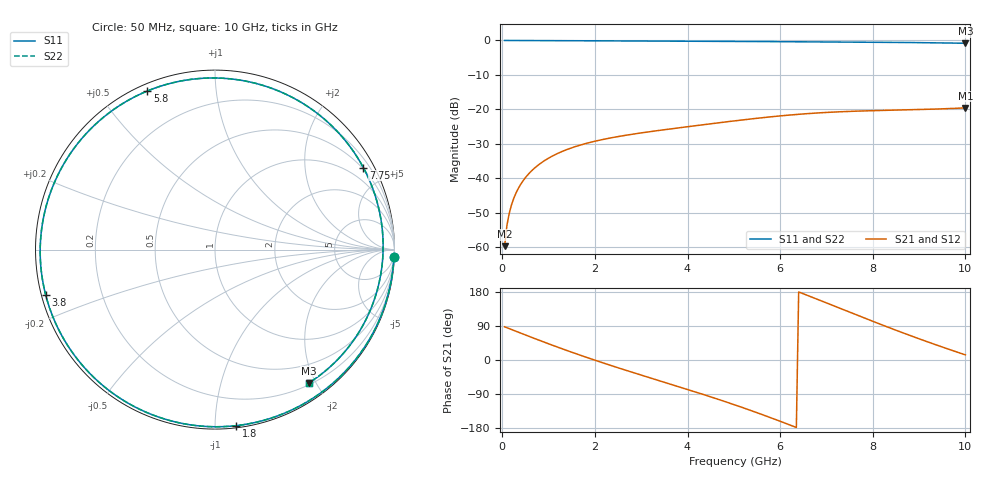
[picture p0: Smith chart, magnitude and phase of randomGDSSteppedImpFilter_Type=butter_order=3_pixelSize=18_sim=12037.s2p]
! freq	dB(S11)	phase(S11)	dB(S12)	phase(S12)
!  dB(S21)	phase(S21)	dB(S22)	phase(S22)
!S-par simulation data
#  GHz  S  DB  R 50
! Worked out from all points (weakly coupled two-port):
!   200 points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, 50 MHz to 10 GHz, reference 50 ohm
!   highest |S21| = -19.55 dB at 10 GHz (marker M1); lowest = -59.6 dB at 50 MHz (marker M2)
!   lowest |S11| = -0.8 dB at 10 GHz (marker M3), VSWR 20.88, Z = 11.2 - j95.4 ohm
!   |S11| at or under -10 dB: nowhere
!   |S22| runs from -0.8 to 0.0 dB; largest |S21 - S12| = 0
!   S11 on the Smith chart (normalised r, x): 50 MHz: 2, -50; 1.8 GHz: 0.01, -1.13; 3.8 GHz: 0.01, -0.13; 5.8 GHz: 0.03, +0.66; 7.75 GHz: 0.45, +3.82; 10 GHz: 0.22, -1.91
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0.05  -0.01 -2.3  -59.63 87.6  -59.63 87.6  -0.01 -2.3
0.1  -0.02 -4.7  -53.62 85.2  -53.62 85.2  -0.02 -4.7
0.2  -0.03 -9.5  -47.61 80.4  -47.61 80.4  -0.03 -9.5
0.35  -0.03 -16.7  -42.80 73.2  -42.80 73.2  -0.03 -16.7
0.5  -0.04 -23.8  -39.77 66.0  -39.77 66.0  -0.04 -23.9
0.8  -0.05 -38.0  -35.88 51.9  -35.88 51.9  -0.05 -38.0
1.15  -0.07 -54.1  -33.05 35.9  -33.05 35.9  -0.07 -54.2
1.75  -0.10 -80.9  -30.08 9.8  -30.08 9.8  -0.10 -81.0
1.8  -0.10 -83.1  -29.89 7.7  -29.89 7.7  -0.10 -83.2
2.55  -0.14 -114.8  -27.75 -22.5  -27.75 -22.5  -0.14 -114.9
3.4  -0.18 -149.2  -26.06 -55.0  -26.06 -55.0  -0.18 -149.3
3.8  -0.21 -165.1  -25.36 -70.1  -25.36 -70.1  -0.21 -165.2
4.4  -0.24 171.0  -24.33 -93.2  -24.33 -93.2  -0.24 170.9
5.05  -0.29 144.6  -23.26 -119.7  -23.26 -119.7  -0.29 144.5
5.8  -0.35 113.1  -22.14 -152.5  -22.14 -152.5  -0.35 113.0
6.25  -0.38 93.7  -21.58 -173.3  -21.58 -173.3  -0.38 93.7
6.7  -0.42 74.1  -21.12 165.2  -21.12 165.2  -0.42 74.1
7.2  -0.45 52.4  -20.74 140.9  -20.74 140.9  -0.45 52.4
7.75  -0.50 29.0  -20.46 114.1  -20.46 114.1  -0.50 28.9
8.35  -0.56 4.4  -20.25 85.6  -20.25 85.6  -0.56 4.4
9.1  -0.65 -24.0  -20.00 51.5  -20.00 51.5  -0.65 -24.1
10  -0.83 -54.8  -19.55 13.5  -19.55 13.5  -0.83 -54.9
